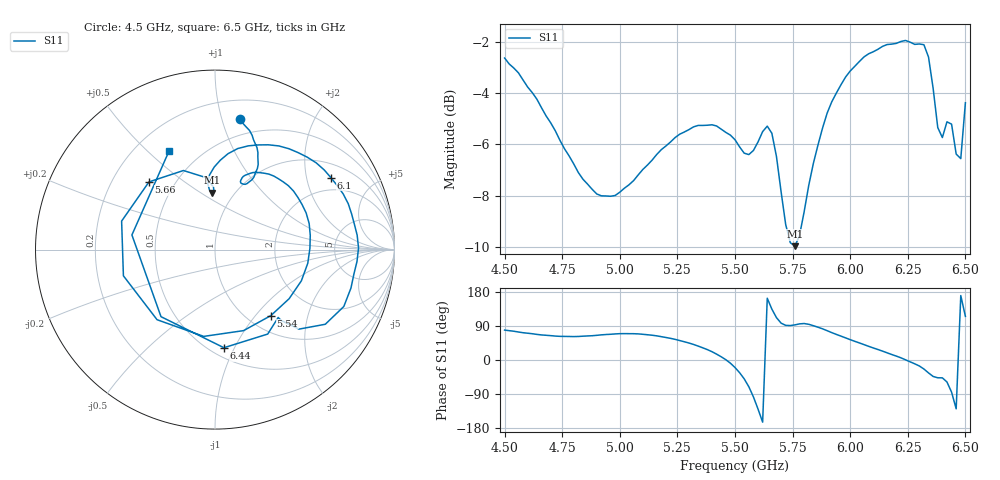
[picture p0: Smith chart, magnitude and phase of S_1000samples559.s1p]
! TOUCHSTONE file generated by CST MICROWAVE STUDIO
! Date and time: Fri Oct 28 14:33:48 2022
! Project name: L.cst
! Parameters = {Di=1.27; Epsilon_r=1.56; InnerDiameter=1.27; Length=2; Lf=10; Lg=60; OuterConductorThickness=0.2921; OuterDiameter=3.6; Wf=3; Wp=41.2; de=1.5; df=6.8; g=0.8; gx=0.639817; gy=4.52313; h=2.34; hf=1.524; px=12.6609; py=8.71787; w=9.7; wx=12.0211; wy=4.19474}
! Header version: 2018
! Port assignment regex: !\s*Touchstone port\s*([0-9]+)\s*=\s*(CST MWS port|CST DS port)\s*([0-9]+|Zmin|Zmax)\s*\(\"(.*)\"\)(\s*mode\s*([0-9]+))?.*
! Touchstone port assignment:
! Touchstone port 1 = CST MWS port 1 ("")
# GHz S DB R 50
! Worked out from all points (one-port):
!   101 points, 4.5 GHz to 6.5 GHz, reference 50 ohm
!   lowest |S11| = -10.0 dB at 5.76 GHz (marker M1), VSWR 1.93, Z = 39.8 + j28 ohm
!   |S11| at or under -10 dB: nowhere
!   S11 on the Smith chart (normalised r, x): 4.5 GHz: 0.36, +1.15; 5.54 GHz: 1.26, -1.21; 5.66 GHz: 0.36, +0.37; 6.1 GHz: 1.48, +2.80; 6.44 GHz: 0.58, -0.91; 6.5 GHz: 0.34, +0.58
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4.5  -2.63 78.9
4.76  -6.17 62.3
5  -7.87 69.5
5.26  -5.60 51.3
5.4  -5.24 21.9
5.5  -5.82 -19.8
5.54  -6.35 -49.8
5.58  -6.24 -97.4
5.6  -5.90 -129.6
5.62  -5.50 -164.0
5.64  -5.29 163.0
5.66  -5.57 134.3
5.7  -7.85 97.4
5.76  -9.98 92.7
5.86  -6.03 86.6
5.92  -4.34 72.2
6  -3.14 53.7
6.1  -2.38 31.8
6.26  -2.01 -4.8
6.32  -2.11 -23.8
6.36  -3.81 -43.4
6.38  -5.34 -46.9
6.4  -5.73 -47.1
6.42  -5.12 -58.0
6.44  -5.21 -84.8
6.46  -6.38 -128.8
6.48  -6.56 170.0
6.5  -4.37 115.2
